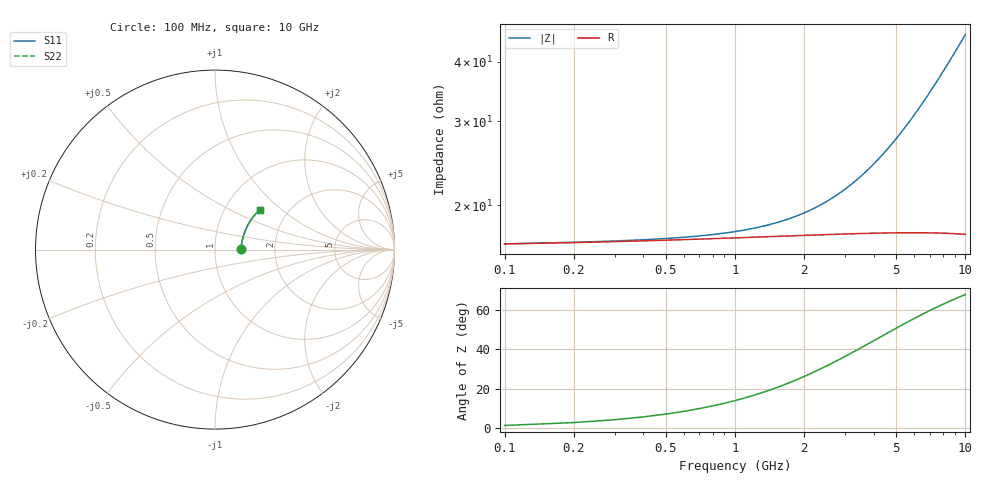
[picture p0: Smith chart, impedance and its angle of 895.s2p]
# Hz S RI R 50.00
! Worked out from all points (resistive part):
!   100 points, 100 MHz to 10 GHz, reference 50 ohm
!   read as one part in series: R = 16.6 ohm at 100 MHz
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1e8  0.1425 0.00264  0.8575 -0.00362  0.8575 -0.00362  0.1425 0.00264
2e8  0.1433 0.00526  0.8567 -0.00723  0.8567 -0.00723  0.1433 0.00526
3e8  0.144 0.00788  0.856 -0.0108  0.856 -0.0108  0.144 0.00788
8e8  0.1463 0.0209  0.8536 -0.0288  0.8536 -0.0288  0.1463 0.0209
1.1e9  0.1477 0.0286  0.8523 -0.0395  0.8523 -0.0395  0.1477 0.0286
1.4e9  0.149 0.0364  0.8508 -0.0501  0.8508 -0.0501  0.149 0.0364
1.8e9  0.1511 0.0466  0.8488 -0.0643  0.8488 -0.0643  0.1511 0.0466
2.1e9  0.1527 0.0542  0.847 -0.0749  0.847 -0.0749  0.1527 0.0542
2.5e9  0.1552 0.0642  0.8445 -0.0889  0.8445 -0.0889  0.1552 0.0642
2.9e9  0.1579 0.0742  0.8417 -0.1028  0.8417 -0.1028  0.1579 0.0742
3.4e9  0.1617 0.0865  0.8377 -0.12  0.8377 -0.12  0.1617 0.0865
4.2e9  0.1686 0.1057  0.8304 -0.1471  0.8304 -0.1471  0.1686 0.1057
5.1e9  0.1779 0.1266  0.8208 -0.1768  0.8208 -0.1768  0.1779 0.1266
5.9e9  0.1872 0.1444  0.811 -0.2025  0.811 -0.2025  0.1872 0.1444
6.7e9  0.1975 0.1614  0.8001 -0.2275  0.8001 -0.2275  0.1975 0.1614
7.2e9  0.2045 0.1716  0.7928 -0.2426  0.7928 -0.2426  0.2045 0.1716
7.6e9  0.2103 0.1795  0.7866 -0.2545  0.7866 -0.2545  0.2103 0.1795
8e9  0.2164 0.1871  0.7803 -0.2661  0.7803 -0.2661  0.2164 0.1871
8.4e9  0.2226 0.1946  0.7737 -0.2775  0.7737 -0.2775  0.2226 0.1946
8.8e9  0.229 0.2018  0.7669 -0.2887  0.7669 -0.2887  0.229 0.2018
9.2e9  0.2356 0.2087  0.7599 -0.2996  0.7599 -0.2996  0.2356 0.2087
1e10  0.2494 0.2218  0.7453 -0.3207  0.7453 -0.3207  0.2494 0.2218
